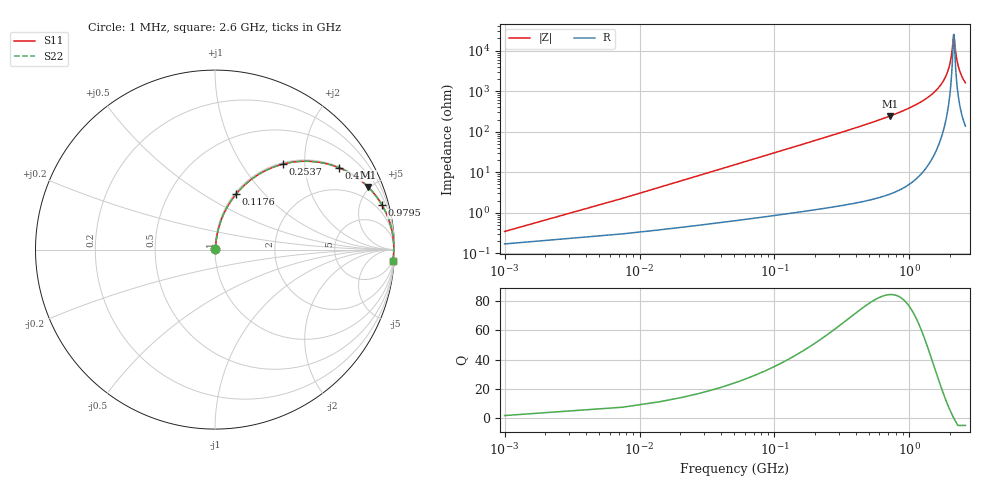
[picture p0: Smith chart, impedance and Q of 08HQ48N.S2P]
! Coilcraft 0805HQ-48N Chip Inductor
! 19 June 2002
# MHZ S MA R 50
!Freq  MagS11  AngS11  MagS21  AngS21  MagS12  AngS12  MagS22  AngS22
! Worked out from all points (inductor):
!   403 points, 1 MHz to 2.6 GHz, reference 50 ohm
!   read as one part in series: L = 48 nH near 13.96 MHz
!   highest Q = 84.4 at 713.8 MHz (marker M1), where L = 54.1 nH
!   self-resonance near 2.133 GHz
!   S11 on the Smith chart (normalised r, x): 1 MHz: 1.00, +0.01; 117.6 MHz: 1.02, +0.71; 253.7 MHz: 1.03, +1.55; 474 MHz: 1.04, +3.01; 979.5 MHz: 1.10, +7.49; 2.6 GHz: 4, -32
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1  0.003461 60.3  0.9983 -0.2  0.9983 -0.2  0.003461 60.3
20.44  0.06142 82.4  0.9938 -3.5  0.9938 -3.5  0.06142 82.4
33.4  0.09986 81.2  0.9897 -5.7  0.9897 -5.7  0.09986 81.2
65.8  0.1936 76.8  0.9742 -11.2  0.9742 -11.2  0.1936 76.8
117.64  0.3327 69.1  0.9345 -19.4  0.9345 -19.4  0.3327 69.1
253.72  0.6081 51.6  0.7834 -37.4  0.7834 -37.4  0.6081 51.6
435.16  0.8025 35.9  0.586 -53.4  0.586 -53.4  0.8025 35.9
474.04  0.8278 33.4  0.5504 -55.9  0.5504 -55.9  0.8278 33.4
713.8  0.9206 22.3  0.3797 -67.0  0.3797 -67.0  0.9206 22.3
869.32  0.9496 17.6  0.302 -71.7  0.302 -71.7  0.9496 17.6
979.48  0.963 14.9  0.2573 -74.4  0.2573 -74.4  0.963 14.9
1303.48  0.9847 9.0  0.157 -79.9  0.157 -79.9  0.9847 9.0
1737.64  0.9947 3.7  0.06394 -83.4  0.06394 -83.4  0.9947 3.7
1886.68  0.9958 2.2  0.03827 -82.6  0.03827 -82.6  0.9958 2.2
1990.36  0.9961 1.2  0.02179 -79.1  0.02179 -79.1  0.9961 1.2
2055.16  0.9961 0.7  0.01216 -71.1  0.01216 -71.1  0.9961 0.7
2126.44  0.996 0.1  0.00408 -14.1  0.00408 -14.1  0.996 0.1
2145.88  0.996 -0.1  0.004396 24.3  0.004396 24.3  0.996 -0.1
2171.8  0.9959 -0.3  0.006866 53.4  0.006866 53.4  0.9959 -0.3
2230.12  0.9957 -0.8  0.01437 72.2  0.01437 72.2  0.9957 -0.8
2314.36  0.9953 -1.4  0.0256 78.6  0.0256 78.6  0.9953 -1.4
2600  0.9929 -3.5  0.06164 81.6  0.06164 81.6  0.9929 -3.5
